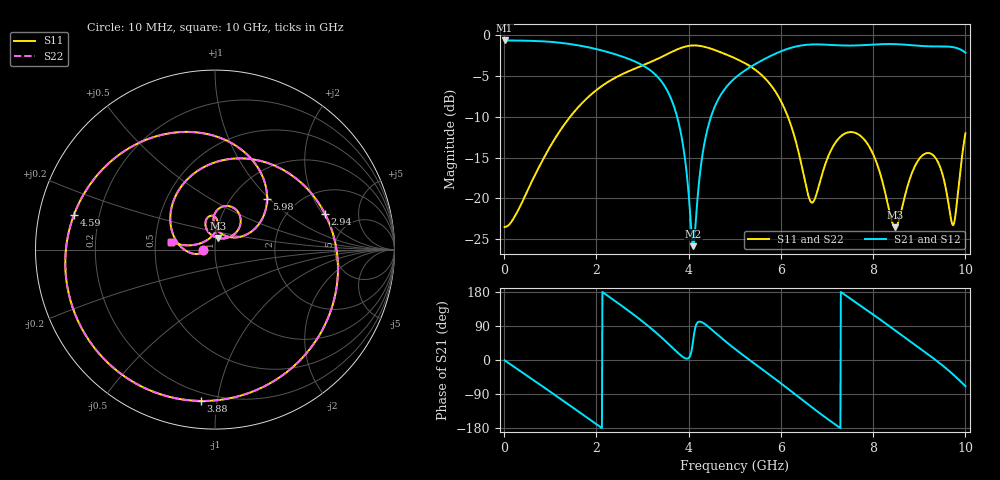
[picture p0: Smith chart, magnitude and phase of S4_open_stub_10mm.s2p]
! kicad_em_sim: S-parameters of 2 ports, openEMS
# Hz S RI R 50
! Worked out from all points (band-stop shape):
!   1000 points, 10 MHz to 10 GHz, reference 50 ohm
!   highest |S21| = -0.61 dB at 10 MHz (marker M1); lowest = -25.9 dB at 4.1 GHz (marker M2)
!   |S21| within 3 dB of the highest: start of sweep to 2.986 GHz; 5.414 GHz to end of sweep
!   lowest |S11| = -23.5 dB at 8.48 GHz (marker M3), VSWR 1.14, Z = 51.1 + j6.64 ohm
!   |S11| at or under -10 dB: start of sweep to 1.428 GHz; 6.153 GHz to end of sweep
!   |S22| runs from -23.5 to -1.2 dB; largest |S21 - S12| = 3e-07
!   S11 on the Smith chart (normalised r, x): 10 MHz: 0.87, -0.00; 2.94 GHz: 3.07, +2.10; 3.88 GHz: 0.15, -0.90; 4.59 GHz: 0.11, +0.12; 5.98 GHz: 1.43, +0.97; 10 GHz: 0.60, +0.06
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1e7  -0.0668 -0.000715  0.9316 -0.0135  0.9316 -0.0135  -0.0668 -0.000715
4.2e8  -0.096 -0.024  0.7613 -0.5326  0.7613 -0.5326  -0.096 -0.024
9e8  -0.1854 0.0115  0.233 -0.8882  0.233 -0.8882  -0.1854 0.0115
1.68e9  -0.2083 0.3204  -0.6777 -0.5325  -0.6777 -0.5325  -0.2083 0.3204
2.26e9  0.1136 0.5077  -0.7723 0.1603  -0.7723 0.1603  0.1136 0.5077
2.94e9  0.612 0.2006  -0.201 0.6393  -0.201 0.6393  0.612 0.2006
3.34e9  0.6611 -0.2886  0.2133 0.509  0.2133 0.509  0.6611 -0.2886
3.88e9  -0.0771 -0.8433  0.2084 0.0282  0.2084 0.0282  -0.0771 -0.8433
4.1e9  -0.5353 -0.6836  0.0302 0.041  0.0302 0.041  -0.5353 -0.6836
4.32e9  -0.8013 -0.2977  -0.0261 0.1995  -0.0261 0.1995  -0.8013 -0.2977
4.59e9  -0.7856 0.1944  0.1248 0.3575  0.1248 0.3575  -0.7856 0.1944
5.01e9  -0.3893 0.6098  0.4821 0.2632  0.4821 0.2632  -0.3893 0.6098
5.51e9  0.1045 0.5862  0.6541 -0.199  0.6541 -0.199  0.1045 0.5862
5.98e9  0.2902 0.2838  0.4025 -0.6853  0.4025 -0.6853  0.2902 0.2838
6.67e9  0.0472 0.0817  -0.5007 -0.7242  -0.5007 -0.7242  0.0472 0.0817
7.45e9  0.0748 0.2427  -0.8441 0.1976  -0.8441 0.1976  0.0748 0.2427
7.94e9  0.1418 0.144  -0.5081 0.7146  -0.5081 0.7146  0.1418 0.144
8.34e9  0.0589 0.0631  -0.005 0.8859  -0.005 0.8859  0.0589 0.0631
8.48e9  0.0154 0.0647  0.1865 0.8647  0.1865 0.8647  0.0154 0.0647
9.32e9  0.000258 0.1819  0.8552 0.0456  0.8552 0.0456  0.000258 0.1819
9.73e9  -0.0381 0.0569  0.6708 -0.5184  0.6708 -0.5184  -0.0381 0.0569
1e10  -0.2473 0.0437  0.2794 -0.7322  0.2794 -0.7322  -0.2473 0.0437
